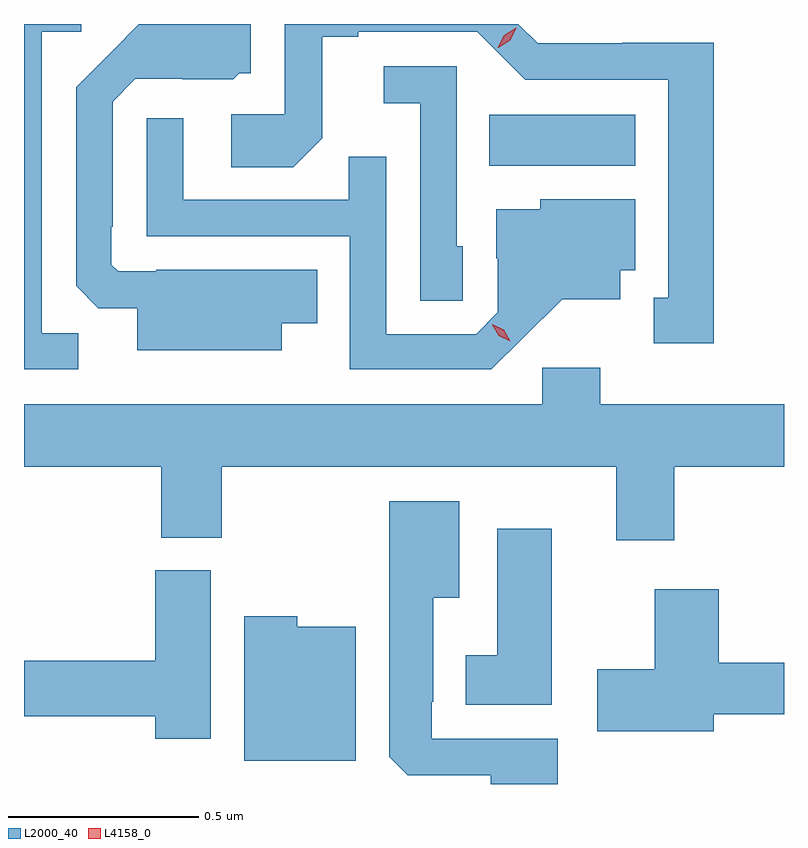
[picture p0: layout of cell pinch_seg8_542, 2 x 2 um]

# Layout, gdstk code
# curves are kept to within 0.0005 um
import gdstk
lib = gdstk.Library(unit=1e-6, precision=1e-09)
def R(c, l, rs):  # rectangles x0, y0, x1, y1
    for r in rs: c.add(gdstk.rectangle(r[:2], r[2:], *l))
def P(c, l, *ps):  # polygons
    for p in ps: c.add(gdstk.Polygon(p, *l))
L2000_40 = (2000, 40)
L4158_0 = (4158, 0)

pinch_seg8_542 = lib.new_cell('pinch_seg8_542')
R(pinch_seg8_542, L2000_40, [(154.906,1111.964,155.29,1112.098)])
P(pinch_seg8_542, L2000_40, [(155.497,1112.288),(155.256,1112.288),(155.256,1112.286),(155.034,1112.286),(154.983,1112.337),(154.368,1112.337),(154.368,1112.1),(154.227,1112.1),(154.227,1111.96),(154.391,1111.96),(154.467,1112.036),(154.467,1112.304),(154.561,1112.304),(154.561,1112.316),(154.875,1112.316),(155.001,1112.19),(155.378,1112.19),(155.378,1111.617),(155.339,1111.617),(155.339,1111.497),(155.497,1111.497)],
  [(153.825,1111.523),(153.729,1111.523),(153.729,1112.316),(153.832,1112.316),(153.832,1112.337),(153.682,1112.337),(153.682,1111.428),(153.825,1111.428)],
  [(154.36,1111.55),(154.454,1111.55),(154.454,1111.69),(154.03,1111.69),(154.03,1111.686),(153.93,1111.686),(153.912,1111.704),(153.912,1111.804),(153.915,1111.804),(153.915,1112.133),(153.975,1112.193),(154.098,1112.193),(154.098,1112.192),(154.232,1112.192),(154.248,1112.208),(154.279,1112.208),(154.279,1112.337),(153.984,1112.337),(153.819,1112.17),(153.819,1111.648),(153.878,1111.589),(153.98,1111.589),(153.98,1111.478),(154.36,1111.478)],
  [(154.836,1111.752),(154.821,1111.752),(154.821,1112.226),(154.629,1112.226),(154.629,1112.129),(154.725,1112.129),(154.725,1111.609),(154.836,1111.609)],
  [(154.996,1111.511),(155.099,1111.613),(155.251,1111.613),(155.251,1111.689),(155.29,1111.689),(155.29,1111.876),(155.04,1111.876),(155.04,1111.849),(154.925,1111.849),(154.925,1111.72),(154.929,1111.72),(154.929,1111.578),(154.872,1111.521),(154.635,1111.521),(154.635,1111.988),(154.537,1111.988),(154.537,1111.875),(154.101,1111.875),(154.101,1112.089),(154.005,1112.089),(154.005,1111.779),(154.539,1111.779),(154.539,1111.428),(154.912,1111.428)],
  [(155.393,1111.172),(155.682,1111.172),(155.682,1111.336),(155.198,1111.336),(155.198,1111.432),(155.046,1111.432),(155.046,1111.336),(153.682,1111.336),(153.682,1111.172),(154.043,1111.172),(154.043,1110.985),(154.203,1110.985),(154.203,1111.172),(155.24,1111.172),(155.24,1110.978),(155.393,1110.978)],
  [(155.086,1110.456),(154.755,1110.456),(154.755,1110.553),(154.759,1110.553),(154.759,1110.827),(154.828,1110.827),(154.828,1111.081),(154.643,1111.081),(154.643,1110.409),(154.692,1110.36),(154.91,1110.36),(154.91,1110.337),(155.086,1110.337)],
  [(155.071,1111.009),(154.928,1111.009),(154.928,1110.676),(154.844,1110.676),(154.844,1110.545),(155.071,1110.545)],
  [(154.174,1110.9),(154.028,1110.9),(154.028,1110.662),(153.682,1110.662),(153.682,1110.515),(154.028,1110.515),(154.028,1110.456),(154.174,1110.456)],
  [(155.497,1110.52),(155.682,1110.52),(155.682,1110.656),(155.51,1110.656),(155.51,1110.85),(155.342,1110.85),(155.342,1110.639),(155.19,1110.639),(155.19,1110.476),(155.497,1110.476)],
  [(154.555,1110.751),(154.401,1110.751),(154.401,1110.778),(154.262,1110.778),(154.262,1110.398),(154.555,1110.398)])
P(pinch_seg8_542, L4158_0, [(154.929,1112.275),(154.929,1112.275),(154.946,1112.308),(154.978,1112.327),(154.978,1112.327),(154.978,1112.327),(154.961,1112.294),(154.93,1112.275)],
  [(154.962,1111.502),(154.931,1111.517),(154.914,1111.546),(154.914,1111.547),(154.914,1111.547),(154.945,1111.532),(154.962,1111.502),(154.962,1111.502)])

lib.write_gds('pinch_seg8_542.gds')
